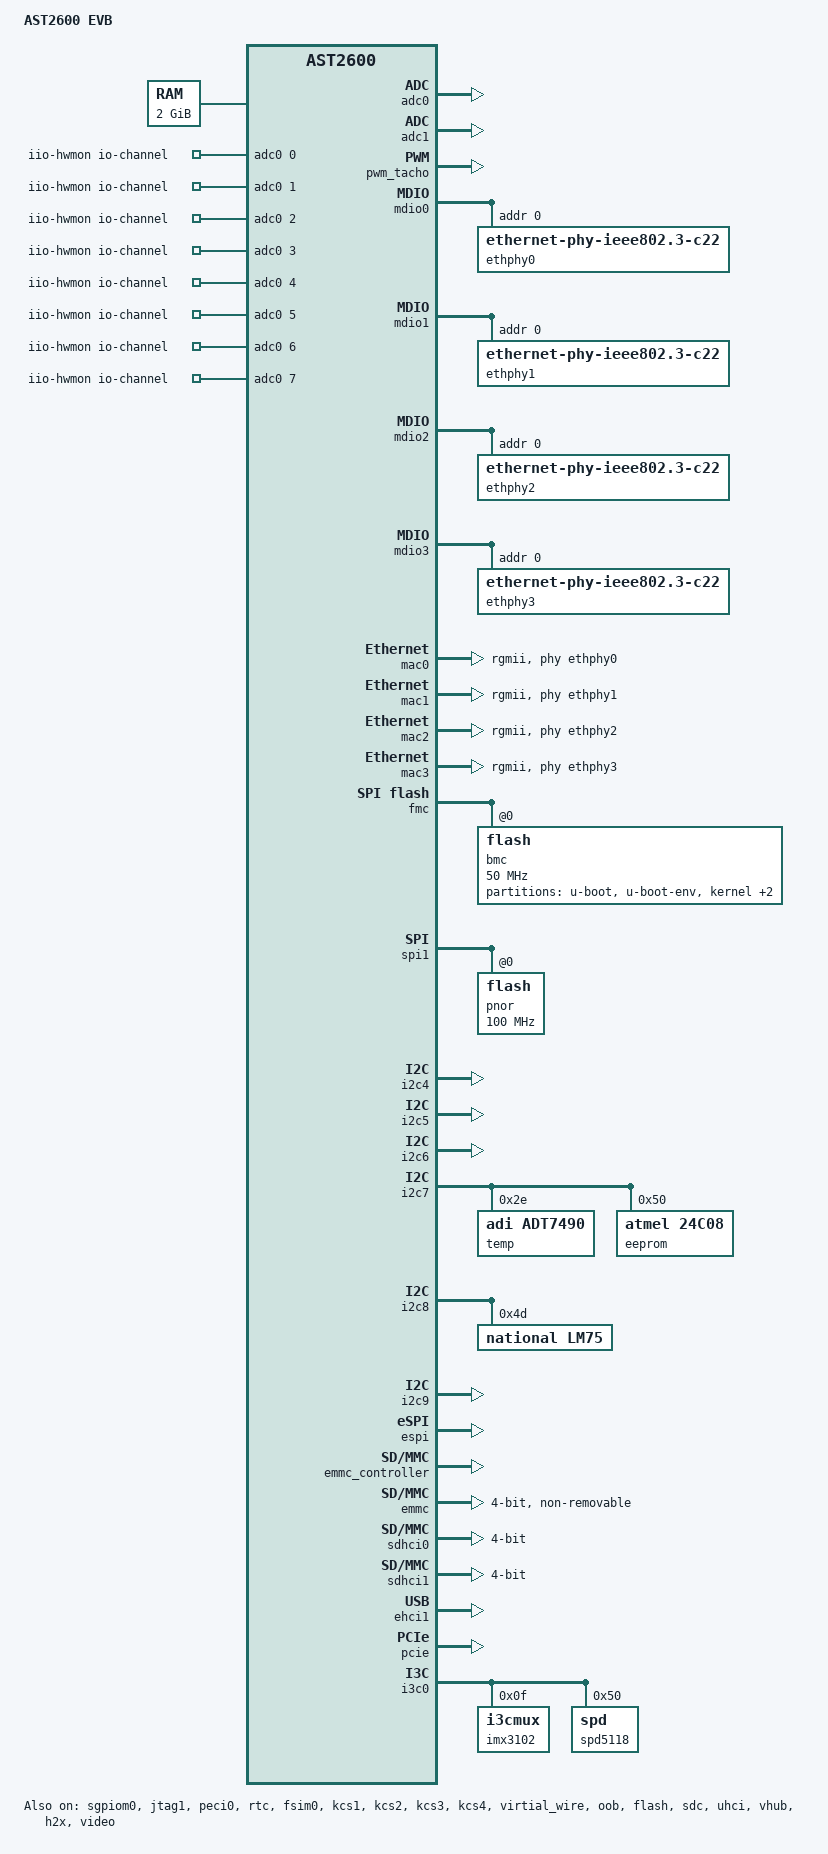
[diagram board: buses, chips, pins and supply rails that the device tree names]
// SPDX-License-Identifier: GPL-2.0-or-later
// Copyright 2019 IBM Corp.

/dts-v1/;

#include "aspeed-g6.dtsi"

/ {
	model = "AST2600 EVB";
	compatible = "aspeed,ast2600";

	aliases {
		serial4 = &uart5;
		mmc0 = &emmc;
		mmc1 = &sdhci0;
		mmc2 = &sdhci1;
	};

	chosen {
		bootargs = "console=ttyS4,115200n8";
	};

	memory@80000000 {
		device_type = "memory";
		reg = <0x80000000 0x80000000>;
	};

	reserved-memory {
		#address-cells = <1>;
		#size-cells = <1>;
		ranges;

		gfx_memory: framebuffer {
			size = <0x01000000>;
			alignment = <0x01000000>;
			compatible = "shared-dma-pool";
			reusable;
		};

		video_engine_memory: video {
			size = <0x04000000>;
			alignment = <0x01000000>;
			compatible = "shared-dma-pool";
			reusable;
		};

		rvas_memory: rvas {
			size = <0x04000000>;
			alignment = <0x01000000>;
			compatible = "shared-dma-pool";
			reusable;
		};

		ssp_memory: ssp_memory {
			size = <0x02000000>;
			alignment = <0x01000000>;
			compatible = "shared-dma-pool";
			no-map;
		};

		bmc_dev_memory: bmc_dev_memory {
			size = <0x00100000>;
			alignment = <0x00100000>;
			compatible = "shared-dma-pool";
			no-map;
		};

	};
	iio-hwmon {
		compatible = "iio-hwmon";
		io-channels = <&adc0 0>, <&adc0 1>, <&adc0 2>, <&adc0 3>,
				<&adc0 4>, <&adc0 5>, <&adc0 6>, <&adc0 7>,
				<&adc1 0>, <&adc1 1>, <&adc1 2>, <&adc1 3>,
				<&adc1 4>, <&adc1 5>, <&adc1 6>, <&adc1 7>;
	};
};

&adc0 {
	ref_voltage = <2500>;
	status = "okay";

	pinctrl-names = "default";
	pinctrl-0 = <&pinctrl_adc0_default &pinctrl_adc1_default
		&pinctrl_adc2_default &pinctrl_adc3_default
		&pinctrl_adc4_default &pinctrl_adc5_default
		&pinctrl_adc6_default &pinctrl_adc7_default>;
};

&adc1 {
	ref_voltage = <2500>;
	status = "okay";

	pinctrl-names = "default";
	pinctrl-0 = <&pinctrl_adc8_default &pinctrl_adc9_default
		&pinctrl_adc10_default &pinctrl_adc11_default
		&pinctrl_adc12_default &pinctrl_adc13_default
		&pinctrl_adc14_default &pinctrl_adc15_default>;
};

&sgpiom0 {
        status = "okay";
};

&jtag1 {
	status = "okay";
};

&peci0 {
	status = "okay";
};

&pwm_tacho {
	status = "okay";
	pinctrl-names = "default";
	pinctrl-0 = <&pinctrl_pwm0_default &pinctrl_tach0_default
			&pinctrl_pwm1_default &pinctrl_tach1_default
			&pinctrl_pwm2_default &pinctrl_tach2_default
			&pinctrl_pwm3_default &pinctrl_tach3_default
			&pinctrl_pwm4_default &pinctrl_tach4_default
			&pinctrl_pwm5_default &pinctrl_tach5_default
			&pinctrl_pwm6_default &pinctrl_tach6_default
			&pinctrl_pwm7_default &pinctrl_tach7_default
			&pinctrl_pwm8g1_default &pinctrl_tach8_default
			&pinctrl_pwm9g1_default &pinctrl_tach9_default
			&pinctrl_pwm10g1_default &pinctrl_tach10_default
			&pinctrl_pwm11g1_default &pinctrl_tach11_default
			&pinctrl_pwm12g1_default &pinctrl_tach12_default
			&pinctrl_pwm13g1_default &pinctrl_tach13_default
			&pinctrl_pwm14g1_default &pinctrl_tach14_default
			&pinctrl_pwm15g1_default &pinctrl_tach15_default>;

	fan@0 {
		reg = <0x00>;
		aspeed,target_pwm = <25000>;
		cooling-levels = /bits/ 8 <125 151 177 203 229 255>;
		aspeed,fan-tach-ch = /bits/ 8 <0x00>;
		aspeed,pulse-pr = <2>;
	};

	fan@1 {
		reg = <0x01>;
		aspeed,target_pwm = <25000>;
		cooling-levels = /bits/ 8 <125 151 177 203 229 255>;
		aspeed,fan-tach-ch = /bits/ 8 <0x01>;
		aspeed,pulse-pr = <2>;
	};

	fan@2 {
		reg = <0x02>;
		aspeed,target_pwm = <25000>;
		cooling-levels = /bits/ 8 <125 151 177 203 229 255>;
		aspeed,fan-tach-ch = /bits/ 8 <0x02>;
		aspeed,pulse-pr = <2>;
	};

	fan@3 {
		reg = <0x03>;
		aspeed,target_pwm = <25000>;
		cooling-levels = /bits/ 8 <125 151 177 203 229 255>;
		aspeed,fan-tach-ch = /bits/ 8 <0x03>;
		aspeed,pulse-pr = <2>;
	};

	fan@4 {
		reg = <0x04>;
		aspeed,target_pwm = <25000>;
		cooling-levels = /bits/ 8 <125 151 177 203 229 255>;
		aspeed,fan-tach-ch = /bits/ 8 <0x04>;
		aspeed,pulse-pr = <2>;
	};

	fan@5 {
		reg = <0x05>;
		aspeed,target_pwm = <25000>;
		cooling-levels = /bits/ 8 <125 151 177 203 229 255>;
		aspeed,fan-tach-ch = /bits/ 8 <0x05>;
		aspeed,pulse-pr = <2>;
	};

	fan@6 {
		reg = <0x06>;
		aspeed,target_pwm = <25000>;
		cooling-levels = /bits/ 8 <125 151 177 203 229 255>;
		aspeed,fan-tach-ch = /bits/ 8 <0x06>;
		aspeed,pulse-pr = <2>;
	};

	fan@7 {
		reg = <0x07>;
		aspeed,target_pwm = <25000>;
		cooling-levels = /bits/ 8 <125 151 177 203 229 255>;
		aspeed,fan-tach-ch = /bits/ 8 <0x07>;
		aspeed,pulse-pr = <2>;
	};

	fan@8 {
		reg = <0x08>;
		aspeed,target_pwm = <25000>;
		cooling-levels = /bits/ 8 <125 151 177 203 229 255>;
		aspeed,fan-tach-ch = /bits/ 8 <0x08>;
		aspeed,pulse-pr = <2>;
	};

	fan@9 {
		reg = <0x09>;
		aspeed,target_pwm = <25000>;
		cooling-levels = /bits/ 8 <125 151 177 203 229 255>;
		aspeed,fan-tach-ch = /bits/ 8 <0x09>;
		aspeed,pulse-pr = <2>;
	};

	fan@10 {
		reg = <0x0a>;
		aspeed,target_pwm = <25000>;
		cooling-levels = /bits/ 8 <125 151 177 203 229 255>;
		aspeed,fan-tach-ch = /bits/ 8 <0x0a>;
		aspeed,pulse-pr = <2>;
	};

	fan@11 {
		reg = <0x0b>;
		aspeed,target_pwm = <25000>;
		cooling-levels = /bits/ 8 <125 151 177 203 229 255>;
		aspeed,fan-tach-ch = /bits/ 8 <0x0b>;
		aspeed,pulse-pr = <2>;
	};

	fan@12 {
		reg = <0x0c>;
		aspeed,target_pwm = <25000>;
		cooling-levels = /bits/ 8 <125 151 177 203 229 255>;
		aspeed,fan-tach-ch = /bits/ 8 <0x0c>;
		aspeed,pulse-pr = <2>;
	};

	fan@13 {
		reg = <0x0d>;
		aspeed,target_pwm = <25000>;
		cooling-levels = /bits/ 8 <125 151 177 203 229 255>;
		aspeed,fan-tach-ch = /bits/ 8 <0x0d>;
		aspeed,pulse-pr = <2>;
	};

	fan@14 {
		reg = <0x0e>;
		aspeed,target_pwm = <25000>;
		cooling-levels = /bits/ 8 <125 151 177 203 229 255>;
		aspeed,fan-tach-ch = /bits/ 8 <0x0e>;
		aspeed,pulse-pr = <2>;
	};

	fan@15 {
		reg = <0x0f>;
		aspeed,target_pwm = <25000>;
		cooling-levels = /bits/ 8 <125 151 177 203 229 255>;
		aspeed,fan-tach-ch = /bits/ 8 <0x0f>;
		aspeed,pulse-pr = <2>;
	};
};

&mdio0 {
	status = "okay";

	ethphy0: ethernet-phy@0 {
		compatible = "ethernet-phy-ieee802.3-c22";
		reg = <0>;
	};
};

&mdio1 {
	status = "okay";

	ethphy1: ethernet-phy@0 {
		compatible = "ethernet-phy-ieee802.3-c22";
		reg = <0>;
	};
};

&mdio2 {
	status = "okay";

	ethphy2: ethernet-phy@0 {
		compatible = "ethernet-phy-ieee802.3-c22";
		reg = <0>;
	};
};

&mdio3 {
	status = "okay";

	ethphy3: ethernet-phy@0 {
		compatible = "ethernet-phy-ieee802.3-c22";
		reg = <0>;
	};
};

&mac0 {
	status = "okay";

	phy-mode = "rgmii";
	phy-handle = <&ethphy0>;

	pinctrl-names = "default";
	pinctrl-0 = <&pinctrl_rgmii1_default>;
};


&mac1 {
	status = "okay";

	phy-mode = "rgmii";
	phy-handle = <&ethphy1>;

	pinctrl-names = "default";
	pinctrl-0 = <&pinctrl_rgmii2_default>;
};

&mac2 {
	status = "okay";

	phy-mode = "rgmii";
	phy-handle = <&ethphy2>;

	pinctrl-names = "default";
	pinctrl-0 = <&pinctrl_rgmii3_default>;
};

&mac3 {
	status = "okay";

	phy-mode = "rgmii";
	phy-handle = <&ethphy3>;

	pinctrl-names = "default";
	pinctrl-0 = <&pinctrl_rgmii4_default>;
};

&rtc {
	status = "okay";
};

&fmc {
	status = "okay";
	flash@0 {
		status = "okay";
		m25p,fast-read;
		label = "bmc";
		spi-max-frequency = <50000000>;

		partitions {
			compatible = "fixed-partitions";
			#address-cells = <1>;
			#size-cells = <1>;

			u-boot@0 {
				reg = <0x0 0xe0000>; // 896KB
				label = "u-boot";
			};

			u-boot-env@e0000 {
				reg = <0xe0000 0x10000>; // 64KB
				label = "u-boot-env";
			};

			kernel@100000 {
				reg = <0x100000 0x1000000>; // 16MB
				label = "kernel";
			};

			rofs@a00000 {
				reg = <0x1100000 0x1500000>; // 21MB
				label = "rofs";
			};

			rwfs@6000000 {
				reg = <0x2a00000 0x1600000>; // 22MB
				label = "rwfs";
			};
		};
	};
};

&spi1 {
	status = "okay";
	pinctrl-names = "default";
	pinctrl-0 = <&pinctrl_spi1_default>;

	flash@0 {
		status = "okay";
		m25p,fast-read;
		label = "pnor";
		spi-max-frequency = <100000000>;
	};
};

&i2c4 {
	status = "okay";
};

&i2c5 {
	status = "okay";
};

&i2c6 {
	status = "okay";
};

&i2c7 {
	status = "okay";

	temp@2e {
		compatible = "adi,adt7490";
		reg = <0x2e>;
	};

	eeprom@50 {
		compatible = "atmel,24c08";
		reg = <0x50>;
		pagesize = <16>;
	};

};

&i2c8 {
	status = "okay";

	lm75@4d {
		compatible = "national,lm75";
		reg = <0x4d>;
	};

};

&i2c9 {
	status = "okay";
};

&fsim0 {
	status = "okay";
};

&kcs1 {
	kcs_addr = <0xca0>;
	status = "okay";
};

&kcs2 {
	kcs_addr = <0xca8>;
	status = "okay";
};

&kcs3 {
	kcs_addr = <0xca2>;
	status = "okay";
};

&kcs4 {
	kcs_addr = <0xca4>;
	status = "okay";
};

&espi {
	status = "okay";
	resets = <&syscon ASPEED_RESET_ESPI>;
	delay-timing = <0x7>;
};

&peripheral {
	status = "okay";
	host-map-addr = <0x98000000>;
	map-size = <0x10000>;
};

&virtial_wire {
	status = "okay";
};

&oob {
	status = "okay";
};

&flash {
	status = "okay";
};

&emmc_controller {
	status = "okay";
	timing-phase = <0x700FF>;
};

&emmc {
	status = "okay";

	non-removable;
	max-frequency = <100000000>;
	sdhci-drive-type = /bits/ 8 <3>;
#if 1
	bus-width = <4>;
#else
	bus-width = <8>;
	pinctrl-0 = <&pinctrl_emmc_default
			&pinctrl_emmcg8_default>;
#endif
};

&sdc {
	status = "okay";
	timing-phase = <0xc6ffff>;
};

&sdhci0 {
	status = "okay";

	bus-width = <4>;
	max-frequency = <100000000>;
	sdhci-drive-type = /bits/ 8 <3>;
	/* SDR104/DDR50/SDR50 bits in CAPA2 is not supported */
	sdhci-caps-mask = <0x7 0x580000>;
	sdhci,wp-inverted;
};

&sdhci1 {
	status = "okay";

	bus-width = <4>;
	max-frequency = <100000000>;
	sdhci-drive-type = /bits/ 8 <3>;
	sdhci-caps-mask = <0x7 0x580000>;
	sdhci,wp-inverted;
};

#if 0
&ehci0 {
	status = "okay";
};
#endif

&ehci1 {
	status = "okay";
};

&uhci {
	status = "okay";
};

&vhub {
	status = "okay";
	pinctrl-names = "default";
#if 0
	pinctrl-0 = <&pinctrl_usb2adp_default>;
#endif
};

#if 0
&udc {
	status = "okay";
	pinctrl-names = "default";
	pinctrl-0 = <&pinctrl_usb2bd_default>;
};
#endif

#if 0
&gfx {
	status = "okay";
	memory-region = <&gfx_memory>;
};

&dac_ctrl {
	status = "okay";
};

#endif

&pcie {
	status = "okay";

	interrupts = <GIC_SPI 168 IRQ_TYPE_LEVEL_HIGH>;

	pcie_intc0: legacy-interrupt-controller {
		interrupts = <GIC_SPI 168 IRQ_TYPE_EDGE_RISING>;
	};
};

&h2x {
	status = "okay";
};

#if 1
&video {
	status = "okay";
	memory-region = <&video_engine_memory>;
};
#else
&rvas {
	status = "okay";
	memory-region = <&rvas_memory>;
};
#endif


&i3c0 {
	status = "okay";
	jdec-spd;
	/* IDT IMX3102 multiplexer w/ thermal sensor */
	imx3102: i3cmux@0f,3C000000000 {
		reg = <0x0f 0x3C0 0x00000000>;
		assigned-address = <0x0f>;
	};

	/* Renesas SPD5118 */
	spd5118: spd@50,3C000000001 {
		reg = <0x50 0x3C0 0x00000001>;
		assigned-address = <0x50>;
	};
};

&syscon {
	mac0-clk-delay = <0x1d 0x1b
			  0x10 0x17
			  0x10 0x17>;
	mac1-clk-delay = <0x1d 0x10
			  0x10 0x10
			  0x10 0x10>;
	mac2-clk-delay = <0x0a 0x04
			  0x08 0x04
			  0x08 0x04>;
	mac3-clk-delay = <0x0e 0x04
			  0x08 0x04
			  0x08 0x04>;
};

&ssp {
	memory-region = <&ssp_memory>;
};
